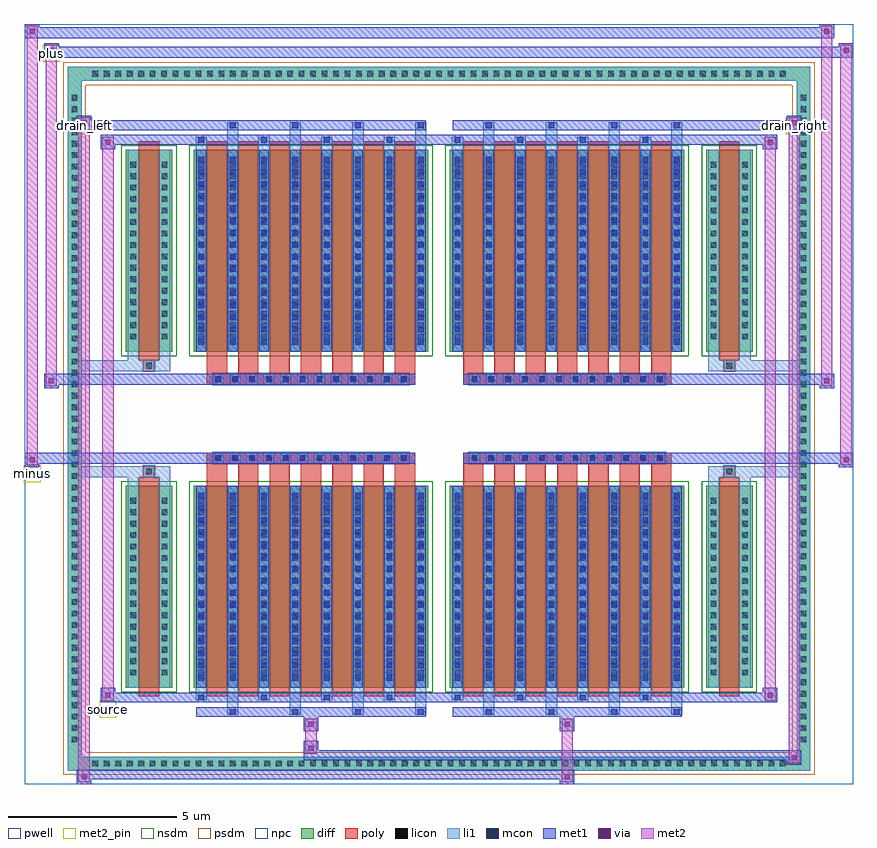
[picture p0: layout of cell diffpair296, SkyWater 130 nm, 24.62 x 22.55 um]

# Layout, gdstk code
import gdstk
lib = gdstk.Library(unit=1e-6, precision=5e-09)
def R(c, l, rs):  # rectangles x0, y0, x1, y1
    for r in rs: c.add(gdstk.rectangle(r[:2], r[2:], *l))
def A(c, l, x, y, w, h, nx, ny, dx, dy):  # array of equal rectangles
    R(c, l, [(x+i*dx, y+j*dy, x+i*dx+w, y+j*dy+h) for i in range(nx) for j in range(ny)])
def P(c, l, *ps):  # polygons
    for p in ps: c.add(gdstk.Polygon(p, *l))
pwell = (64, 44)
diff = (65, 20)
poly = (66, 20)
licon = (66, 44)
li1 = (67, 20)
mcon = (67, 44)
met1 = (68, 20)
via = (68, 44)
met2_pin = (69, 16)
met2 = (69, 20)
nsdm = (93, 44)
psdm = (94, 20)
npc = (95, 20)

diffpair296 = lib.new_cell('diffpair296')
R(diffpair296, pwell, [(-12.29,-10.84,12.29,11.71), (-9.61,-9.03,-0.01,-0.805), (0.01,-9.03,9.61,-0.805), (-9.61,0.805,-0.01,9.03), (0.01,0.805,9.61,9.03)])
A(diffpair296, diff, -10.405, -10.44, 0.41, 0.41, 61, 2, 0.34, 20.47)
A(diffpair296, diff, -11.02, -9.725, 0.41, 0.41, 1, 57, 0, 0.34)
A(diffpair296, diff, 10.61, -9.725, 0.41, 0.41, 1, 57, 0, 0.34)
R(diffpair296, diff, [(-10.405,-10.44,10.405,-10.03), (-11.02,-9.725,-10.61,9.725), (10.61,-9.725,11.02,9.725), (-9.3,-7.985,-7.92,-1.985), (-7.28,-7.985,-0.32,-1.985), (0.32,-7.985,7.28,-1.985), (7.92,-7.985,9.3,-1.985), (-9.3,1.985,-7.92,7.985), (-7.28,1.985,-0.32,7.985), (0.32,1.985,7.28,7.985), (7.92,1.985,9.3,7.985), (-10.405,10.03,10.405,10.44)])
P(diffpair296, diff, [(11.02,10.44),(-11.02,10.44),(-11.02,-10.03),(-10.61,-10.03),(-10.61,10.03),(10.61,10.03),(10.61,-10.03),(-10.61,-10.03),(-11.02,-10.03),(-11.02,-10.44),(11.02,-10.44)])
A(diffpair296, poly, -6.89, -8.235, 0.6, 6.5, 7, 2, 0.93, 9.97)
A(diffpair296, poly, 0.71, -8.235, 0.6, 6.5, 7, 2, 0.93, 9.97)
A(diffpair296, poly, -6.89, -1.735, 0.6, 0.4, 7, 2, 0.93, 3.07)
A(diffpair296, poly, 0.71, -1.735, 0.6, 0.4, 7, 2, 0.93, 3.07)
A(diffpair296, poly, -6.715, -1.335, 0.33, 0.33, 12, 2, 0.5, 2.34)
A(diffpair296, poly, 0.885, -1.335, 0.33, 0.33, 12, 2, 0.5, 2.34)
R(diffpair296, poly, [(-8.91,-8.235,-8.31,-1.735), (8.31,-8.235,8.91,-1.735), (-8.775,-1.735,-8.445,-1.405), (-8.775,-1.735,-8.445,-1.405), (8.445,-1.735,8.775,-1.405), (8.445,-1.735,8.775,-1.405), (-6.89,-1.335,-0.71,-1.005), (0.71,-1.335,6.89,-1.005), (-6.89,1.005,-0.71,1.335), (0.71,1.005,6.89,1.335), (-8.775,1.405,-8.445,1.735), (-8.775,1.405,-8.445,1.735), (8.445,1.405,8.775,1.735), (8.445,1.405,8.775,1.735), (-8.91,1.735,-8.31,8.235), (8.31,1.735,8.91,8.235)])
A(diffpair296, licon, -10.285, -10.32, 0.17, 0.17, 61, 2, 0.34, 20.47)
A(diffpair296, licon, -10.9, -9.605, 0.17, 0.17, 1, 57, 0, 0.34)
A(diffpair296, licon, 10.73, -9.605, 0.17, 0.17, 1, 57, 0, 0.34)
A(diffpair296, licon, -9.16, -7.62, 0.17, 0.17, 1, 16, 0, 0.34)
A(diffpair296, licon, -8.23, -7.62, 0.17, 0.17, 1, 16, 0, 0.34)
A(diffpair296, licon, -7.14, -7.62, 0.17, 0.17, 8, 16, 0.93, 0.34)
A(diffpair296, licon, 0.46, -7.62, 0.17, 0.17, 8, 16, 0.93, 0.34)
A(diffpair296, licon, 8.06, -7.62, 0.17, 0.17, 1, 16, 0, 0.34)
A(diffpair296, licon, 8.99, -7.62, 0.17, 0.17, 1, 16, 0, 0.34)
A(diffpair296, licon, -6.635, -1.255, 0.17, 0.17, 12, 2, 0.5, 2.34)
A(diffpair296, licon, 0.965, -1.255, 0.17, 0.17, 12, 2, 0.5, 2.34)
A(diffpair296, licon, -9.16, 2.35, 0.17, 0.17, 1, 16, 0, 0.34)
A(diffpair296, licon, -8.23, 2.35, 0.17, 0.17, 1, 16, 0, 0.34)
A(diffpair296, licon, -7.14, 2.35, 0.17, 0.17, 8, 16, 0.93, 0.34)
A(diffpair296, licon, 0.46, 2.35, 0.17, 0.17, 8, 16, 0.93, 0.34)
A(diffpair296, licon, 8.06, 2.35, 0.17, 0.17, 1, 16, 0, 0.34)
A(diffpair296, licon, 8.99, 2.35, 0.17, 0.17, 1, 16, 0, 0.34)
R(diffpair296, licon, [(-8.695,-1.655,-8.525,-1.485), (8.525,-1.655,8.695,-1.485), (-8.695,1.485,-8.525,1.655), (8.525,1.485,8.695,1.655)])
A(diffpair296, li1, -10.365, -10.4, 0.33, 0.33, 61, 2, 0.34, 20.47)
A(diffpair296, li1, -10.98, -9.685, 0.33, 0.33, 1, 57, 0, 0.34)
A(diffpair296, li1, 10.65, -9.685, 0.33, 0.33, 1, 57, 0, 0.34)
A(diffpair296, li1, -6.29, -8.79, 0.33, 0.805, 4, 2, 1.86, 16.775)
A(diffpair296, li1, -6.21, -8.79, 0.17, 0.17, 4, 2, 1.86, 17.41)
A(diffpair296, li1, 1.31, -8.79, 0.33, 0.805, 4, 2, 1.86, 16.775)
A(diffpair296, li1, 1.39, -8.79, 0.17, 0.17, 4, 2, 1.86, 17.41)
A(diffpair296, li1, -7.22, -8.36, 0.33, 0.375, 4, 2, 1.86, 16.345)
A(diffpair296, li1, -7.14, -8.36, 0.17, 0.17, 4, 2, 1.86, 16.55)
A(diffpair296, li1, 0.38, -8.36, 0.33, 0.375, 4, 2, 1.86, 16.345)
A(diffpair296, li1, 0.46, -8.36, 0.17, 0.17, 4, 2, 1.86, 16.55)
A(diffpair296, li1, -7.22, -7.985, 0.33, 6, 8, 2, 0.93, 9.97)
A(diffpair296, li1, 0.38, -7.985, 0.33, 6, 8, 2, 0.93, 9.97)
A(diffpair296, li1, -7.14, -7.77, 0.17, 0.17, 8, 16, 0.93, 0.36)
A(diffpair296, li1, -7.14, -7.77, 0.17, 5.57, 8, 2, 0.93, 9.97)
A(diffpair296, li1, 0.46, -7.77, 0.17, 0.17, 8, 16, 0.93, 0.36)
A(diffpair296, li1, 0.46, -7.77, 0.17, 5.57, 8, 2, 0.93, 9.97)
A(diffpair296, li1, -9.24, -7.7, 0.33, 0.33, 1, 16, 0, 0.34)
A(diffpair296, li1, -8.31, -7.7, 0.33, 0.33, 1, 16, 0, 0.34)
A(diffpair296, li1, -7.22, -7.7, 0.33, 0.33, 8, 16, 0.93, 0.34)
A(diffpair296, li1, 0.38, -7.7, 0.33, 0.33, 8, 16, 0.93, 0.34)
A(diffpair296, li1, 7.98, -7.7, 0.33, 0.33, 1, 16, 0, 0.34)
A(diffpair296, li1, 8.91, -7.7, 0.33, 0.33, 1, 16, 0, 0.34)
A(diffpair296, li1, -6.715, -1.335, 0.33, 0.33, 12, 2, 0.5, 2.34)
A(diffpair296, li1, 0.885, -1.335, 0.33, 0.33, 12, 2, 0.5, 2.34)
A(diffpair296, li1, -7.14, 2.2, 0.17, 0.17, 8, 16, 0.93, 0.36)
A(diffpair296, li1, 0.46, 2.2, 0.17, 0.17, 8, 16, 0.93, 0.36)
A(diffpair296, li1, -9.24, 2.27, 0.33, 0.33, 1, 16, 0, 0.34)
A(diffpair296, li1, -8.31, 2.27, 0.33, 0.33, 1, 16, 0, 0.34)
A(diffpair296, li1, -7.22, 2.27, 0.33, 0.33, 8, 16, 0.93, 0.34)
A(diffpair296, li1, 0.38, 2.27, 0.33, 0.33, 8, 16, 0.93, 0.34)
A(diffpair296, li1, 7.98, 2.27, 0.33, 0.33, 1, 16, 0, 0.34)
A(diffpair296, li1, 8.91, 2.27, 0.33, 0.33, 1, 16, 0, 0.34)
R(diffpair296, li1, [(-11.02,-10.44,-10.61,-10.03), (-11.02,-10.44,-10.61,-10.03), (-10.61,-10.44,10.61,-10.03), (10.61,-10.44,11.02,-10.03), (10.61,-10.44,11.02,-10.03), (-11.02,-10.03,-10.61,10.03), (10.61,-10.03,11.02,10.03), (-9.24,-7.985,-8.91,-1.985), (-8.31,-7.985,-7.98,-1.985), (7.98,-7.985,8.31,-1.985), (8.91,-7.985,9.24,-1.985), (-9.24,-1.985,-8.91,-1.405), (-8.31,-1.985,-7.98,-1.405), (7.98,-1.985,8.31,-1.405), (8.91,-1.985,9.24,-1.405), (-11.02,-1.735,-8.775,-1.405), (-9.24,-1.735,-8.775,-1.405), (-8.775,-1.735,-8.445,-1.405), (-8.445,-1.735,-7.98,-1.405), (7.98,-1.735,8.445,-1.405), (8.445,-1.735,8.775,-1.405), (8.445,-1.735,11.02,-1.405), (8.775,-1.735,9.24,-1.405), (-11.02,1.405,-8.775,1.735), (-9.24,1.405,-8.775,1.735), (-9.24,1.405,-8.91,1.985), (-8.775,1.405,-8.445,1.735), (-8.445,1.405,-7.98,1.735), (-8.31,1.405,-7.98,1.985), (7.98,1.405,8.445,1.735), (7.98,1.405,8.31,1.985), (8.445,1.405,8.775,1.735), (8.445,1.405,11.02,1.735), (8.775,1.405,9.24,1.735), (8.91,1.405,9.24,1.985), (-9.24,1.985,-8.91,7.985), (-8.31,1.985,-7.98,7.985), (7.98,1.985,8.31,7.985), (8.91,1.985,9.24,7.985), (-11.02,10.03,-10.61,10.44), (-11.02,10.03,-10.61,10.44), (-10.61,10.03,10.61,10.44), (10.61,10.03,11.02,10.44), (10.61,10.03,11.02,10.44)])
A(diffpair296, mcon, -6.21, -8.79, 0.17, 0.17, 4, 2, 1.86, 17.41)
A(diffpair296, mcon, 1.39, -8.79, 0.17, 0.17, 4, 2, 1.86, 17.41)
A(diffpair296, mcon, -7.14, -8.36, 0.17, 0.17, 4, 2, 1.86, 16.55)
A(diffpair296, mcon, 0.46, -8.36, 0.17, 0.17, 4, 2, 1.86, 16.55)
A(diffpair296, mcon, -7.14, -7.77, 0.17, 0.17, 8, 16, 0.93, 0.36)
A(diffpair296, mcon, 0.46, -7.77, 0.17, 0.17, 8, 16, 0.93, 0.36)
A(diffpair296, mcon, -6.635, -1.255, 0.17, 0.17, 12, 2, 0.5, 2.34)
A(diffpair296, mcon, 0.965, -1.255, 0.17, 0.17, 12, 2, 0.5, 2.34)
A(diffpair296, mcon, -7.14, 2.2, 0.17, 0.17, 8, 16, 0.93, 0.36)
A(diffpair296, mcon, 0.46, 2.2, 0.17, 0.17, 8, 16, 0.93, 0.36)
A(diffpair296, met1, -6.27, -8.85, 0.29, 0.29, 4, 2, 1.86, 17.41)
A(diffpair296, met1, 1.33, -8.85, 0.29, 0.29, 4, 2, 1.86, 17.41)
A(diffpair296, met1, -7.2, -8.42, 0.29, 0.29, 4, 2, 1.86, 16.55)
A(diffpair296, met1, 0.4, -8.42, 0.29, 0.29, 4, 2, 1.86, 16.55)
A(diffpair296, met1, -7.2, -7.985, 0.29, 6, 8, 2, 0.93, 9.97)
A(diffpair296, met1, 0.4, -7.985, 0.29, 6, 8, 2, 0.93, 9.97)
A(diffpair296, met1, -7.2, -7.83, 0.29, 0.29, 8, 16, 0.93, 0.36)
A(diffpair296, met1, 0.4, -7.83, 0.29, 0.29, 8, 16, 0.93, 0.36)
A(diffpair296, met1, -6.695, -1.315, 0.29, 0.29, 12, 2, 0.5, 2.34)
A(diffpair296, met1, 0.905, -1.315, 0.29, 0.29, 12, 2, 0.5, 2.34)
A(diffpair296, met1, -7.2, 2.14, 0.29, 0.29, 8, 16, 0.93, 0.36)
A(diffpair296, met1, 0.4, 2.14, 0.29, 0.29, 8, 16, 0.93, 0.36)
R(diffpair296, met1, [(-10.75,-10.84,-10.32,-10.41), (3.585,-10.84,4.015,-10.41), (-10.75,-10.7,4.015,-10.41), (10.32,-10.27,10.75,-9.84), (-4.015,-10.13,10.75,-9.84), (-4.015,-9.99,-3.585,-9.56), (-4.015,-9.28,-3.585,-8.85), (3.585,-9.28,4.015,-8.85), (-7.2,-8.85,-0.4,-8.56), (0.4,-8.85,7.2,-8.56), (-10.04,-8.42,-9.61,-7.99), (-10.04,-8.42,-7.2,-8.13), (-7.2,-8.42,-0.4,-8.13), (-0.4,-8.42,0.4,-8.13), (0.4,-8.42,7.2,-8.13), (7.2,-8.42,10.04,-8.13), (9.61,-8.42,10.04,-7.99), (-12.29,-1.435,-11.86,-1.005), (11.86,-1.435,12.29,-1.005), (-12.29,-1.335,-0.71,-1.005), (-6.89,-1.335,-0.71,-1.005), (0.71,-1.335,6.89,-1.005), (0.71,-1.335,12.29,-1.005), (-11.72,0.905,-11.29,1.335), (11.29,0.905,11.72,1.335), (-11.72,1.005,-6.89,1.335), (-6.89,1.005,-0.71,1.335), (0.71,1.005,6.89,1.335), (6.89,1.005,11.72,1.335), (-10.04,7.99,-9.61,8.42), (9.61,7.99,10.04,8.42), (-10.04,8.13,-7.2,8.42), (-7.2,8.13,-0.4,8.42), (-0.4,8.13,0.4,8.42), (0.4,8.13,7.2,8.42), (7.2,8.13,10.04,8.42), (-10.75,8.56,-10.32,8.99), (-10.75,8.56,-7.2,8.85), (-7.2,8.56,-0.4,8.85), (0.4,8.56,7.2,8.85), (7.2,8.56,10.75,8.85), (10.32,8.56,10.75,8.99), (-11.72,10.71,-11.29,11.14), (-11.72,10.71,-9.61,11.04), (-9.61,10.71,9.61,11.04), (9.61,10.71,12.29,11.04), (11.86,10.71,12.29,11.14), (-12.29,11.28,-11.86,11.71), (-12.29,11.28,-9.61,11.61), (-9.61,11.28,9.61,11.61), (9.61,11.28,11.72,11.61), (11.29,11.28,11.72,11.71)])
R(diffpair296, via, [(-10.61,-10.7,-10.46,-10.55), (3.725,-10.7,3.875,-10.55), (10.46,-10.13,10.61,-9.98), (-3.875,-9.85,-3.725,-9.7), (-3.875,-9.14,-3.725,-8.99), (3.725,-9.14,3.875,-8.99), (-9.9,-8.28,-9.75,-8.13), (9.75,-8.28,9.9,-8.13), (-12.15,-1.295,-12,-1.145), (12,-1.295,12.15,-1.145), (-11.58,1.045,-11.43,1.195), (11.43,1.045,11.58,1.195), (-9.9,8.13,-9.75,8.28), (9.75,8.13,9.9,8.28), (-10.61,8.7,-10.46,8.85), (10.46,8.7,10.61,8.85), (-11.58,10.85,-11.43,11), (12,10.85,12.15,11), (-12.15,11.42,-12,11.57), (11.43,11.42,11.58,11.57)])
R(diffpair296, met2_pin, [(-10.075,-8.87,-9.575,-8.37), (-12.325,-1.885,-11.825,-1.385), (-10.785,8.44,-10.285,8.94), (10.285,8.44,10.785,8.94), (-11.755,10.59,-11.255,11.09)])
R(diffpair296, met2, [(-10.7,-10.79,-10.37,-10.46), (-10.7,-10.79,-10.37,8.94), (3.635,-10.79,3.965,-10.46), (3.635,-10.46,3.965,-9.23), (10.37,-10.22,10.7,-9.89), (10.37,-10.22,10.7,8.94), (-3.965,-9.94,-3.635,-9.61), (-3.965,-9.61,-3.635,-9.23), (-3.965,-9.23,-3.635,-8.9), (3.635,-9.23,3.965,-8.9), (-9.99,-8.37,-9.66,-8.04), (-9.99,-8.37,-9.66,8.37), (9.66,-8.37,9.99,-8.04), (9.66,-8.37,9.99,8.37), (-12.24,-1.385,-11.91,-1.055), (-12.24,-1.385,-11.91,11.66), (11.91,-1.385,12.24,-1.055), (11.91,-1.385,12.24,11.09), (-11.67,0.955,-11.34,1.285), (-11.67,0.955,-11.34,11.09), (11.34,0.955,11.67,1.285), (11.34,0.955,11.67,11.66), (-9.99,8.04,-9.66,8.37), (9.66,8.04,9.99,8.37), (-10.7,8.61,-10.37,8.94), (10.37,8.61,10.7,8.94), (-11.67,10.76,-11.34,11.09), (11.91,10.76,12.24,11.09), (-12.24,11.33,-11.91,11.66), (11.34,11.33,11.67,11.66)])
P(diffpair296, met2, [(12.24,-1.385),(12.24,-1.385),(12.24,-1.055),(12.24,-1.055)],
  [(12.24,10.76),(12.24,10.76),(12.24,11.09),(12.24,11.09)],
  [(-11.91,-1.385),(-11.91,-1.385),(-11.91,-1.055),(-11.91,-1.055)],
  [(-11.91,11.33),(-11.91,11.33),(-11.91,11.66),(-11.91,11.66)],
  [(11.67,0.955),(11.67,0.955),(11.67,1.285),(11.67,1.285)],
  [(11.67,11.33),(11.67,11.33),(11.67,11.66),(11.67,11.66)],
  [(-11.34,0.955),(-11.34,0.955),(-11.34,1.285),(-11.34,1.285)],
  [(-11.34,10.76),(-11.34,10.76),(-11.34,11.09),(-11.34,11.09)],
  [(-10.37,-10.79),(-10.37,-10.79),(-10.37,-10.46),(-10.37,-10.46)],
  [(-10.37,8.61),(-10.37,8.61),(-10.37,8.94),(-10.37,8.94)],
  [(10.7,-10.22),(10.7,-10.22),(10.7,-9.89),(10.7,-9.89)],
  [(10.7,8.61),(10.7,8.61),(10.7,8.94),(10.7,8.94)],
  [(-9.66,-8.37),(-9.66,-8.37),(-9.66,-8.04),(-9.66,-8.04)],
  [(-9.66,8.04),(-9.66,8.04),(-9.66,8.37),(-9.66,8.37)],
  [(9.99,-8.37),(9.99,-8.37),(9.99,-8.04),(9.99,-8.04)],
  [(9.99,8.04),(9.99,8.04),(9.99,8.37),(9.99,8.37)])
R(diffpair296, nsdm, [(-9.43,-8.115,-7.79,-1.855), (-7.41,-8.115,-0.19,-1.855), (0.19,-8.115,7.41,-1.855), (7.79,-8.115,9.43,-1.855), (-9.43,1.855,-7.79,8.115), (-7.41,1.855,-0.19,8.115), (0.19,1.855,7.41,8.115), (7.79,1.855,9.43,8.115)])
P(diffpair296, psdm, [(11.15,10.57),(-11.15,10.57),(-11.15,-9.9),(-10.48,-9.9),(-10.48,9.9),(10.48,9.9),(10.48,-9.9),(-10.48,-9.9),(-11.15,-9.9),(-11.15,-10.57),(11.15,-10.57)])
A(diffpair296, npc, -6.735, -1.355, 0.37, 0.37, 12, 2, 0.5, 2.34)
A(diffpair296, npc, 0.865, -1.355, 0.37, 0.37, 12, 2, 0.5, 2.34)
R(diffpair296, npc, [(-8.795,-1.755,-8.425,-1.385), (8.425,-1.755,8.795,-1.385), (-6.735,-1.355,-5.865,-0.985), (-6.735,-1.355,-5.865,-0.985), (-6.235,-1.355,-5.365,-0.985), (-6.235,-1.355,-5.365,-0.985), (-5.735,-1.355,-4.865,-0.985), (-5.735,-1.355,-4.865,-0.985), (-5.235,-1.355,-4.365,-0.985), (-5.235,-1.355,-4.365,-0.985), (-4.735,-1.355,-3.865,-0.985), (-4.735,-1.355,-3.865,-0.985), (-4.235,-1.355,-3.365,-0.985), (-4.235,-1.355,-3.365,-0.985), (-3.735,-1.355,-2.865,-0.985), (-3.735,-1.355,-2.865,-0.985), (-3.235,-1.355,-2.365,-0.985), (-3.235,-1.355,-2.365,-0.985), (-2.735,-1.355,-1.865,-0.985), (-2.735,-1.355,-1.865,-0.985), (-2.235,-1.355,-1.365,-0.985), (-2.235,-1.355,-1.365,-0.985), (-1.735,-1.355,-0.865,-0.985), (-1.735,-1.355,-0.865,-0.985), (0.865,-1.355,1.735,-0.985), (0.865,-1.355,1.735,-0.985), (1.365,-1.355,2.235,-0.985), (1.365,-1.355,2.235,-0.985), (1.865,-1.355,2.735,-0.985), (1.865,-1.355,2.735,-0.985), (2.365,-1.355,3.235,-0.985), (2.365,-1.355,3.235,-0.985), (2.865,-1.355,3.735,-0.985), (2.865,-1.355,3.735,-0.985), (3.365,-1.355,4.235,-0.985), (3.365,-1.355,4.235,-0.985), (3.865,-1.355,4.735,-0.985), (3.865,-1.355,4.735,-0.985), (4.365,-1.355,5.235,-0.985), (4.365,-1.355,5.235,-0.985), (4.865,-1.355,5.735,-0.985), (4.865,-1.355,5.735,-0.985), (5.365,-1.355,6.235,-0.985), (5.365,-1.355,6.235,-0.985), (5.865,-1.355,6.735,-0.985), (5.865,-1.355,6.735,-0.985), (-6.735,0.985,-5.865,1.355), (-6.735,0.985,-5.865,1.355), (-6.235,0.985,-5.365,1.355), (-6.235,0.985,-5.365,1.355), (-5.735,0.985,-4.865,1.355), (-5.735,0.985,-4.865,1.355), (-5.235,0.985,-4.365,1.355), (-5.235,0.985,-4.365,1.355), (-4.735,0.985,-3.865,1.355), (-4.735,0.985,-3.865,1.355), (-4.235,0.985,-3.365,1.355), (-4.235,0.985,-3.365,1.355), (-3.735,0.985,-2.865,1.355), (-3.735,0.985,-2.865,1.355), (-3.235,0.985,-2.365,1.355), (-3.235,0.985,-2.365,1.355), (-2.735,0.985,-1.865,1.355), (-2.735,0.985,-1.865,1.355), (-2.235,0.985,-1.365,1.355), (-2.235,0.985,-1.365,1.355), (-1.735,0.985,-0.865,1.355), (-1.735,0.985,-0.865,1.355), (0.865,0.985,1.735,1.355), (0.865,0.985,1.735,1.355), (1.365,0.985,2.235,1.355), (1.365,0.985,2.235,1.355), (1.865,0.985,2.735,1.355), (1.865,0.985,2.735,1.355), (2.365,0.985,3.235,1.355), (2.365,0.985,3.235,1.355), (2.865,0.985,3.735,1.355), (2.865,0.985,3.735,1.355), (3.365,0.985,4.235,1.355), (3.365,0.985,4.235,1.355), (3.865,0.985,4.735,1.355), (3.865,0.985,4.735,1.355), (4.365,0.985,5.235,1.355), (4.365,0.985,5.235,1.355), (4.865,0.985,5.735,1.355), (4.865,0.985,5.735,1.355), (5.365,0.985,6.235,1.355), (5.365,0.985,6.235,1.355), (5.865,0.985,6.735,1.355), (5.865,0.985,6.735,1.355), (-8.795,1.385,-8.425,1.755), (8.425,1.385,8.795,1.755)])
diffpair296.add(gdstk.Label('minus', (-12.075,-1.635), layer=69, texttype=5))
diffpair296.add(gdstk.Label('drain_right', (10.535,8.69), layer=69, texttype=5))
diffpair296.add(gdstk.Label('drain_left', (-10.535,8.69), layer=69, texttype=5))
diffpair296.add(gdstk.Label('source', (-9.825,-8.62), layer=69, texttype=5))
diffpair296.add(gdstk.Label('plus', (-11.505,10.84), layer=69, texttype=5))

lib.write_gds('diffpair296.gds')
